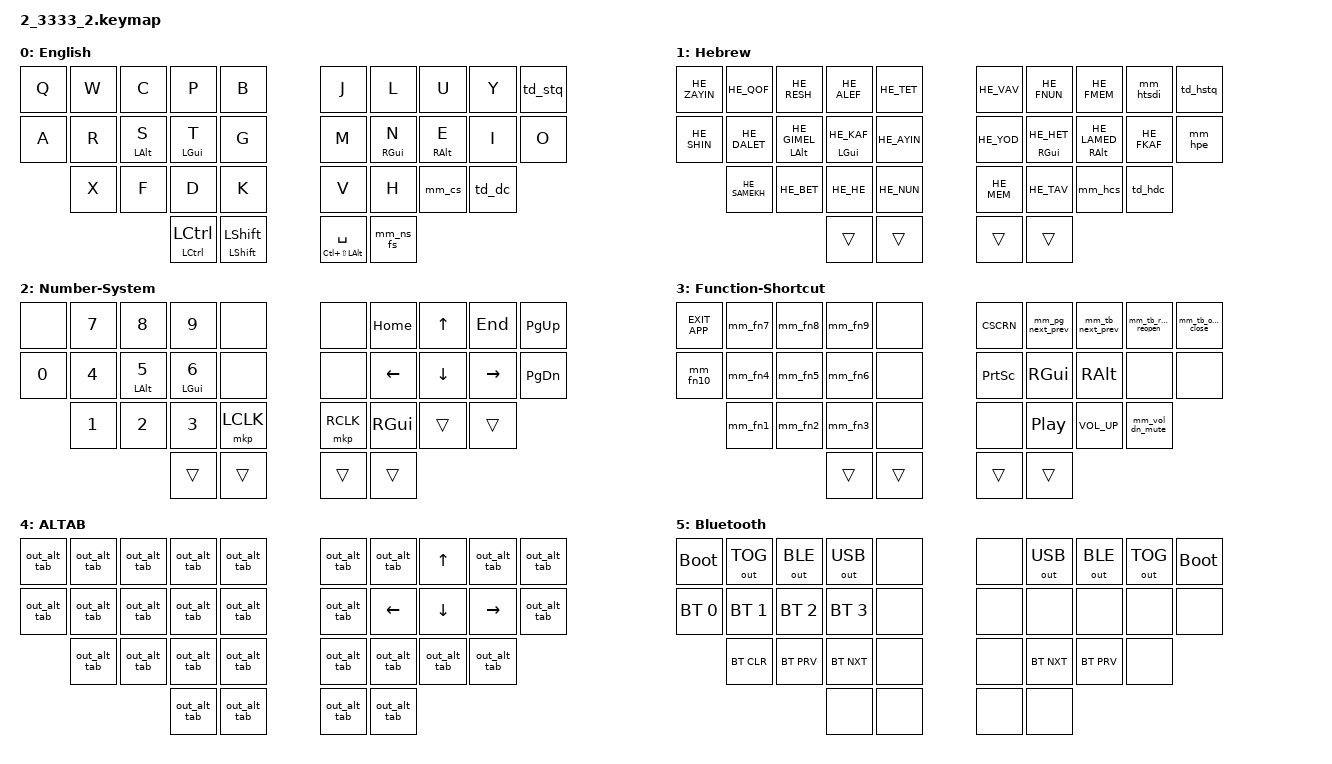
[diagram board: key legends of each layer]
/*
 * Copyright (c) 2020 The ZMK Contributors
 *
 * SPDX-License-Identifier: MIT
 */

#include <dt-bindings/zmk/mouse.h>

// Hebrew Keymap

#include "keys_hebrew.h"

// Extra Keys

#include "shortcut.h"
#include <behaviors.dtsi>
#include <dt-bindings/zmk/bt.h>
#include <dt-bindings/zmk/keys.h>
#include <dt-bindings/zmk/outputs.h>

#define MEH LC(LS(LALT))
#define HYP LC(LS(LA(LGUI)))

// Behavior Defaults

&mt {
    tapping_term_ms = <200>;
    flavor = "tap-preferred";
};

&sk {
    release-after-ms = <2000>;
    quick-release;
};

&caps_word { continue-list = <BACKSPACE DELETE UNDERSCORE MINUS BSPC DEL NUMBER_1 NUMBER_2 NUMBER_3 NUMBER_4 NUMBER_5 NUMBER_6 NUMBER_7 NUMBER_8 NUMBER_9 NUMBER_0 N1 N2 N3 N4 N5 N6 N7 N8 N9 N0 KP_N1 KP_N2 KP_N3 KP_N4 KP_N5 KP_N6 KP_N7 KP_N8 KP_N9 KP_N0>; };

// Behaviors Constants

#define long_tap 200
#define short_tap 150

// Combos Constants
// #define default_timeout 50
// Layers

#define ENG        0
#define HEB        1
#define NUM_SYS    2
#define FN_SHRT    3

// #define MSNV   4

#define ALTAB     4 // 5
#define BLTH      5 // 6

/* Source: https://github.com/caksoylar/zmk-config

#define COMBO(NAME, BINDINGS, KEYPOS, LAYERS, TERM, QUICKTAP) \
   combo_##NAME { \
     timeout-ms = <TERM>; \
     bindings = <BINDINGS>; \
     key-positions = <KEYPOS>; \
     layers = <LAYERS>; \
     global-quick-tap-ms = <QUICKTAP>; \
   };
*/
/*
* KEY POSITIONS - 32 Key Matrix
* ╭─────────────────────╮ ╭─────────────────────╮
* │ LT4 LT3 LT2 LT1 LT0 │ │ RT0 RT1 RT2 RT3 RT4 │
* │ LM4 LM3 LM2 LM1 LM0 │ │ RM0 RM1 RM2 RM3 RM4 │
* ╰───╮ LB3 LB2 LB1 LB0 │ │ RB0 RB1 RB2 RB3 ╭───╯
*     ╰───────╮ LH1 LH0 │ │ RH0 RH1 ╭───────╯
*             ╰─────────╯ ╰─────────╯ 
* 
* ╭────────────────╮ ╭────────────────╮
* │  0  1  2  3  4 │ │  5  6  7  8  9 │
* │ 10 11 12 13 14 │ │ 15 16 17 18 19 │
* ╰──╮ 20 21 22 23 │ │ 24 25 26 27 ╭──╯
*    ╰─────╮ 28 29 │ │ 30 31 ╭─────╯
*          ╰───────╯ ╰───────╯         
*/

/ {
    combos {
        compatible = "zmk,combos";

        // To Layer

        combo_english {
            bindings = <&to 0>;
            key-positions = <28 31>;
            timeout-ms = <50>;
            layers = <0 2 3 5>;
        };

        combo_to_english {
            bindings = <&out_hebrew>;
            key-positions = <28 31>;
            timeout-ms = <50>;
            layers = <1>;
        };

        combo_hebrew {
            bindings = <&to_hebrew>;
            key-positions = <14 15>;
            timeout-ms = <50>;
            layers = <1>;
        };

        // combo_number {
        //     bindings = <&to 2>;
        //     key-positions = <28 29>;
        //     timeout-ms = <50>;
        // };
        // combo_system_keyboard {
        //     bindings = <&to 3>;
        //     key-positions = <30 31>;
        //     timeout-ms = <50>;
        // };

        combo_bluetooth_left {
            bindings = <&to 5>;
            key-positions = <1 2 3>;
            timeout-ms = <50>;
            layers = <0 1 2 3>;
        };

        combo_bluetooth_right {
            bindings = <&to 5>;
            key-positions = <6 7 8>;
            timeout-ms = <50>;
        };

        // General

        combo_capsword {
            bindings = <&caps_word>;
            key-positions = <4 5>;
            timeout-ms = <50>;
            layers = <0 1>;
        };

        combo_tab {
            bindings = <&mm_alt_tab>;
            key-positions = <0 10>;
            timeout-ms = <50>;
            layers = <0 1 2 3>;
        };

        combo_escape {
            bindings = <&kp ESCAPE>;
            key-positions = <4 14>;
            timeout-ms = <50>;
            layers = <0 1 2 3>;
        };

        combo_bspc_del {
            bindings = <&mm_back_del>;
            key-positions = <5 15>;
            timeout-ms = <50>;
            layers = <0 1 2 3>;
        };

        combo_return {
            bindings = <&kp RETURN>;
            key-positions = <9 19>;
            timeout-ms = <50>;
            layers = <0 1 2 3>;
        };

        // Shortcuts
        //Right

        combo_copy {
            bindings = <&kp LC(C)>;
            key-positions = <0 1>;
            timeout-ms = <50>;
            layers = <0 1 2 3>;
        };

        combo_undo {
            bindings = <&kp LC(Z)>;
            key-positions = <0 11>;
            timeout-ms = <50>;
            layers = <0 1 2 3>;
        };

        // Left

        combo_paste {
            bindings = <&mm_paste>;
            key-positions = <8 9>;
            timeout-ms = <50>;
            layers = <0 1 2 3>;
        };

        combo_redo {
            bindings = <&kp LC(Y)>;
            key-positions = <9 18>;
            timeout-ms = <50>;
            layers = <0 1 2 3>;
        };

        // Top Row (left to right)

        combo_less_than_equal {
            bindings = <&mm_le>;
            key-positions = <1 2>;
            timeout-ms = <50>;
            layers = <0 1 2>;
        };

        combo_left_bracket_brace {
            bindings = <&kp LEFT_BRACKET>;
            key-positions = <2 3>;
            timeout-ms = <50>;
            layers = <0 1 2>;
        };

        combo_lparenthesis {
            bindings = <&kp LEFT_PARENTHESIS>;
            key-positions = <3 4>;
            timeout-ms = <50>;
            layers = <0 1 2>;
        };

        // Right

        combo_rparenthesis {
            bindings = <&kp RIGHT_PARENTHESIS>;
            key-positions = <5 6>;
            timeout-ms = <50>;
            layers = <0 1 2>;
        };

        combo_right_bracket_brace {
            bindings = <&kp RIGHT_BRACKET>;
            key-positions = <6 7>;
            timeout-ms = <50>;
            layers = <0 1 2>;
        };

        combo_greater_than_equal {
            bindings = <&mm_ge>;
            key-positions = <7 8>;
            timeout-ms = <50>;
            layers = <0 1 2>;
        };

        // Top-Home 
        // Left

        combo_at_sign {
            bindings = <&kp AT_SIGN>;
            key-positions = <1 11>;
            timeout-ms = <50>;
            layers = <0 1 2>;
        };

        combo_hash {
            bindings = <&kp HASH>;
            key-positions = <2 12>;
            timeout-ms = <50>;
            layers = <0 1 2>;
        };

        combo_dollar {
            bindings = <&kp DOLLAR>;
            key-positions = <3 13>;
            timeout-ms = <50>;
            layers = <0 2>;
        };

        combo_shekel {
            bindings = <&kp HE_NEW_SHEQEL>;
            key-positions = <3 13>;
            timeout-ms = <50>;
            layers = <1>;
        };

        // Right

        combo_hyphen {
            bindings = <&kp MINUS>;
            key-positions = <6 16>;
            timeout-ms = <50>;
            layers = <0 1 2>;
        };

        combo_asterisk {
            bindings = <&kp ASTERISK>;
            key-positions = <7 17>;
            timeout-ms = <50>;
            layers = <0 1 2>;
        };

        combo_fslash {
            bindings = <&kp SLASH>;
            key-positions = <8 18>;
            timeout-ms = <50>;
            layers = <0 1 2>;
        };

        // Middle Row (left to right)
        // Left

        combo_equal_unequal {
            bindings = <&mm_eq>;
            key-positions = <13 14>;
            timeout-ms = <50>;
            layers = <0 1 2>;
        };

        // Right

        combo_plus {
            bindings = <&kp PLUS>;
            key-positions = <15 16>;
            timeout-ms = <50>;
            layers = <0 1 2>;
        };

        // Home-Bottom
        // Left

        combo_percent {
            bindings = <&kp PERCENT>;
            key-positions = <11 20>;
            timeout-ms = <50>;
            layers = <0 1 2>;
        };

        combo_backtick {
            bindings = <&kp GRAVE>;
            key-positions = <12 21>;
            timeout-ms = <50>;
            layers = <0 1 2>;
        };

        combo_underscore {
            bindings = <&kp UNDERSCORE>;
            key-positions = <13 22>;
            timeout-ms = <50>;
            layers = <0 1 2>;
        };

        // Right

        combo_ampersand {
            bindings = <&kp AMPERSAND>;
            key-positions = <16 25>;
            timeout-ms = <50>;
            layers = <0 1 2>;
        };

        combo_pipe {
            bindings = <&kp PIPE>;
            key-positions = <17 26>;
            timeout-ms = <50>;
            layers = <0 1 2>;
        };

        combo_bslash {
            bindings = <&kp BACKSLASH>;
            key-positions = <18 27>;
            timeout-ms = <50>;
            layers = <0 1 2>;
        };

        // Bottom Row (left to right)
        // Left

        combo_z {
            bindings = <&kp Z>;
            key-positions = <10 20>;
            timeout-ms = <50>;
            layers = <0>;
        };

        combo_tilde {
            bindings = <&kp TILDE>;
            key-positions = <21 22>;
            timeout-ms = <50>;
            layers = <0 1 2>;
        };

        // Right

        combo_caret {
            bindings = <&kp CARET>;
            key-positions = <25 26>;
            timeout-ms = <50>;
            layers = <0 1 2>;
        };

        combo_question_excl {
            bindings = <&td_qe>;
            key-positions = <19 27>;
            layers = <0 2 3>;
        };

        combo_heb_question_excl {
            bindings = <&td_hqe>;
            key-positions = <19 27>;
            layers = <1>;
        };
    };

    behaviors {
        hmr: homerow_mods_right {
            compatible = "zmk,behavior-hold-tap";
            #binding-cells = <2>;
            tapping-term-ms = <200>;
            quick_tap_ms = <0>;
            flavor = "tap-preferred";
            bindings = <&kp>, <&kp>;

            hold-trigger-key-positions = <0 1 2 3 4 10 11 12 13 14 20 21 22 23>;
        };

        hml: homerow_mods_left {
            compatible = "zmk,behavior-hold-tap";
            #binding-cells = <2>;
            tapping-term-ms = <200>;
            quick_tap_ms = <0>;
            flavor = "tap-preferred";
            bindings = <&kp>, <&kp>;

            hold-trigger-key-positions = <5 6 7 8 9 15 16 17 18 19 24 25 26 27>;
        };

        sht: sticky_hold_tap {
            compatible = "zmk,behavior-hold-tap";
            #binding-cells = <2>;
            tapping-term-ms = <200>;
            quick_tap_ms = <0>;
            flavor = "tap-preferred";
            bindings = <&sk>, <&kp>;
        };

        khst: key_hold_sticky_tap {
            compatible = "zmk,behavior-hold-tap";
            #binding-cells = <2>;
            tapping-term-ms = <200>;
            quick_tap_ms = <0>;
            flavor = "tap-preferred";
            bindings = <&kp>, <&sk>;
        };

        scw: sticky_shift_capsword {
            compatible = "zmk,behavior-hold-tap";
            #binding-cells = <2>;
            tapping-term-ms = <200>;
            quick_tap_ms = <0>;
            flavor = "tap-preferred";
            bindings = <&caps_word>, <&sk>;
        };

        // LAYER
        // To ENGLISH; Shifted: To Hebrew

        mm_eng_heb: morph_to_english_hebrew {
            compatible = "zmk,behavior-mod-morph";
            #binding-cells = <0>;
            mods = <(MOD_LSFT|MOD_RSFT)>;
            bindings = <&to 0>, <&to 1>;
        };

        // To KEYBOARD; Shifted: To MOUSE

        mm_sys_ms: morph_to_system_mouse {
            compatible = "zmk,behavior-mod-morph";
            #binding-cells = <0>;
            mods = <(MOD_LSFT|MOD_RSFT)>;
            bindings = <&to 3>, <&to 5>;
        };

        // To SYMBOL; Shifted: To KEYBOARD

        mm_ns_fs: morph_to_num_sys_fn_short {
            compatible = "zmk,behavior-mod-morph";
            #binding-cells = <0>;
            mods = <(MOD_LSFT|MOD_RSFT)>;
            bindings = <&to 2>, <&to 3>;
        };

        // To SYMBOL; Shifted: To MOUSE

        mm_num_ms: morph_to_number_mouse {
            compatible = "zmk,behavior-mod-morph";
            #binding-cells = <0>;
            mods = <(MOD_LSFT|MOD_RSFT)>;
            bindings = <&to 2>, <&to 5>;
        };

        // MOD MORPHS
        // GENERAL

        mm_back_del: morph_backspace_delete {
            compatible = "zmk,behavior-mod-morph";
            #binding-cells = <0>;
            mods = <(MOD_LSFT|MOD_RSFT)>;
            bindings = <&kp BACKSPACE>, <&kp DELETE>;
        };

        mm_alt_tab: morph_alt_tab {
            compatible = "zmk,behavior-mod-morph";
            #binding-cells = <0>;
            mods = <(MOD_LALT|MOD_RALT)>;
            bindings = <&kp TAB>, <&to_alt_tab>;
        };

        mm_paste: morph_paste_value {
            compatible = "zmk,behavior-mod-morph";
            #binding-cells = <0>;
            mods = <(MOD_RSFT|MOD_LSFT)>;
            bindings = <&kp LC(V)>, <&kp LC(LS(V))>;
        };

        mm_vol_dn_mute: morph_volume_down_mute {
            compatible = "zmk,behavior-mod-morph";
            #binding-cells = <0>;
            mods = <(MOD_LSFT|MOD_RCTL)>;
            bindings = <&kp C_VOL_DN>, <&kp C_MUTE>;
        };

        // INTERNET SHORTCUTS

        mm_tb_next_prev: morph_internet_tab_next_prev {
            compatible = "zmk,behavior-mod-morph";
            #binding-cells = <0>;
            mods = <(MOD_LSFT|MOD_RSFT)>;
            bindings = <&kp RC(TAB)>, <&kp RC(RS(TAB))>;
        };

        mm_tb_open_close: morph_internet_tab_open_close {
            compatible = "zmk,behavior-mod-morph";
            #binding-cells = <0>;
            mods = <(MOD_LSFT|MOD_RCTL)>;
            bindings = <&kp RC(T)>, <&kp LC(W)>;
        };

        mm_tb_refresh_reopen: morph_internet_tab_refresh_reop {
            compatible = "zmk,behavior-mod-morph";
            #binding-cells = <0>;
            mods = <(MOD_LSFT|MOD_RCTL)>;
            bindings = <&kp RC(R)>, <&kp LS(LC(T))>;
        };

        mm_pg_next_prev: morph_internet_page_next_prev {
            compatible = "zmk,behavior-mod-morph";
            #binding-cells = <0>;
            mods = <(MOD_LSFT|MOD_RSFT)>;
            bindings = <&kp LA(RIGHT_ARROW)>, <&kp LA(LEFT_ARROW)>;
        };

        // PUNCTUATION: English
        // Mod-Morph: Period "."; Colon ":"

        mm_dc: morph_period_colon {
            compatible = "zmk,behavior-mod-morph";
            #binding-cells = <0>;
            mods = <(MOD_LSFT|MOD_RSFT)>;
            bindings = <&kp PERIOD>, <&kp COLON>;
        };

        // Tap-Dance: 1) Mod-Morph Period-Colon; 2) Ellipsis "..."

        td_dc: tap_period_colon {
            compatible = "zmk,behavior-tap-dance";
            #binding-cells = <0>;
            tapping-term-ms = <150>;
            bindings = <&mm_dc>, <&ellipsis>;
        };

        // Mod-Morph: Comma ","; Semicolon ";"

        mm_cs: morph_comma_semicolon {
            compatible = "zmk,behavior-mod-morph";
            #binding-cells = <0>;
            mods = <(MOD_LSFT|MOD_RSFT)>;
            bindings = <&kp COMMA>, <&kp SEMICOLON>;
        };

        // Tap-Dance: 1) Comma ","; 2) Semicolon ";"

        td_cs: tap_comma_semicolon {
            compatible = "zmk,behavior-tap-dance";
            #binding-cells = <0>;
            tapping-term-ms = <150>;
            bindings = <&kp COMMA>, <&kp SEMICOLON>;
        };

        // 1: Single quote "'"; 2: Double quote """; 3: Triple-double quote """""

        td_stq: tap_single_double_triple_quote {
            compatible = "zmk,behavior-tap-dance";
            #binding-cells = <0>;
            tapping-term-ms = <150>;
            bindings = <&kp SINGLE_QUOTE>, <&kp DOUBLE_QUOTES>, <&tri_dquote>;
        };

        // Mod-Morph: Question "?"; Exclamation "!"

        mm_qe: morph_question_exclamation {
            compatible = "zmk,behavior-mod-morph";
            #binding-cells = <0>;
            mods = <(MOD_LSFT|MOD_RSFT)>;
            bindings = <&kp QUESTION>, <&kp EXCLAMATION>;
        };

        // Tap-Dance: 1) Mod-Morph Question-Exclamation; 2) Triple Question "???"

        td_qe: tap_question_exclamation {
            compatible = "zmk,behavior-tap-dance";
            #binding-cells = <0>;
            tapping-term-ms = <150>;
            bindings = <&mm_qe>, <&tri_ques>;
        };

        // PUNCTUATION: Hebrew
        // Mod-Morph: Period "."; Colon ":"

        mm_hdc: morph_heb_period_colon {
            compatible = "zmk,behavior-mod-morph";
            #binding-cells = <0>;
            mods = <(MOD_LSFT|MOD_RSFT)>;
            bindings = <&kp HE_PERIOD>, <&kp HE_COLON>;
        };

        // 1) Mod-Morph Period-Colon; 2) Ellipsis "..."

        td_hdc: tap_heb_period_colon {
            compatible = "zmk,behavior-tap-dance";
            #binding-cells = <0>;
            tapping-term-ms = <150>;
            bindings = <&mm_hdc>, <&heb_ellipsis>;
        };

        // Mod-Morph: Comma ","; Semicolon ";"

        mm_hcs: morph_heb_comma_semicolon {
            compatible = "zmk,behavior-mod-morph";
            #binding-cells = <0>;
            mods = <(MOD_LSFT|MOD_RSFT)>;
            bindings = <&kp HE_COMMA>, <&kp HE_SEMICOLON>;
        };

        // Tap-Dance: 1) Comma ","; 2) Semicolon ";"

        td_hcs: tap_heb_comma_semicolon {
            compatible = "zmk,behavior-tap-dance";
            #binding-cells = <0>;
            tapping-term-ms = <150>;
            bindings = <&kp HE_COMMA>, <&kp HE_SEMICOLON>;
        };

        // Mod-Morph: Single Quote "'"; Double Quote """

        mm_hsdq: morph_heb_single_double_quote {
            compatible = "zmk,behavior-mod-morph";
            #binding-cells = <0>;
            mods = <(MOD_LSFT|MOD_RSFT)>;
            bindings = <&kp HE_SINGLE_QUOTE>, <&kp HE_DOUBLE_QUOTES>;
        };

        // Tap-Dance: 1) Mod-Morph Single-Double Quote; 2) Triple-Double Quote """""

        td_hstq: tap_heb_single_double_triple_quote {
            compatible = "zmk,behavior-tap-dance";
            #binding-cells = <0>;
            tapping-term-ms = <150>;
            bindings = <&mm_hsdq>, <&heb_tri_dquote>;
        };

        // Mod-Morph: Question "?"; Exclamation "!"

        mm_hqe: morph_heb_question_exclamation {
            compatible = "zmk,behavior-mod-morph";
            #binding-cells = <0>;
            mods = <(MOD_LSFT|MOD_RSFT)>;
            bindings = <&kp HE_QUESTION>, <&kp HE_EXCLAMATION>;
        };

        // Tap-Dance: 1) Mod-Morph Question-Exclamation; 2) Triple Question Mark "???"

        td_hqe: tap_heb_question_exclamation {
            compatible = "zmk,behavior-tap-dance";
            #binding-cells = <0>;
            tapping-term-ms = <150>;
            bindings = <&mm_hqe>, <&heb_tri_ques>;
        };

        // Mod-Morph: Nun פ; Final Nun ף

        mm_hnun: morph_heb_nun {
            compatible = "zmk,behavior-mod-morph";
            #binding-cells = <0>;
            mods = <(MOD_LSFT|MOD_RSFT)>;
            bindings = <&kp HE_NUN>, <&kp HE_FNUN>;
        };

        // Mod-Morph: Peh פ; Final Peh ף

        mm_hpe: morph_heb_pe {
            compatible = "zmk,behavior-mod-morph";
            #binding-cells = <0>;
            mods = <(MOD_LSFT|MOD_RSFT)>;
            bindings = <&kp HE_PE>, <&kp HE_FPE>;
        };

        // Mod-Morph: Tsadi צ; Final Tsadi ץ

        mm_htsdi: morph_heb_tsadi {
            compatible = "zmk,behavior-mod-morph";
            #binding-cells = <0>;
            mods = <(MOD_LSFT|MOD_RSFT)>;
            bindings = <&kp HE_TSADI>, <&kp HE_FTSADI>;
        };

        // MATH OPERATORS

        mm_eq: morph_un_equal {
            compatible = "zmk,behavior-mod-morph";
            #binding-cells = <0>;
            mods = <(MOD_LSFT|MOD_RSFT)>;
            bindings = <&kp EQUAL>, <&unequal>;
        };

        mm_ge: morph_greater_equal {
            compatible = "zmk,behavior-mod-morph";
            #binding-cells = <0>;
            mods = <(MOD_LSFT|MOD_RSFT)>;
            bindings = <&kp GREATER_THAN>, <&gr_equal>;
        };

        mm_le: morph_less_than_equal {
            compatible = "zmk,behavior-mod-morph";
            #binding-cells = <0>;
            mods = <(MOD_LSFT|MOD_RSFT)>;
            bindings = <&kp LESS_THAN>, <&ls_equal>;
        };

        // FUNCTION PLUS TEN

        mm_fn1: morph_func_1_11 {
            compatible = "zmk,behavior-mod-morph";
            #binding-cells = <0>;
            mods = <(MOD_LSFT|MOD_RSFT)>;
            bindings = <&kp F1>, <&kp F11>;
        };

        mm_fn2: morph_func_2_12 {
            compatible = "zmk,behavior-mod-morph";
            #binding-cells = <0>;
            mods = <(MOD_LSFT|MOD_RSFT)>;
            bindings = <&kp F2>, <&kp F12>;
        };

        mm_fn3: morph_func_3_13 {
            compatible = "zmk,behavior-mod-morph";
            #binding-cells = <0>;
            mods = <(MOD_LSFT|MOD_RSFT)>;
            bindings = <&kp F3>, <&kp F13>;
        };

        mm_fn4: morph_func_4_14 {
            compatible = "zmk,behavior-mod-morph";
            #binding-cells = <0>;
            mods = <(MOD_LSFT|MOD_RSFT)>;
            bindings = <&kp F4>, <&kp F14>;
        };

        mm_fn5: morph_func_5_15 {
            compatible = "zmk,behavior-mod-morph";
            #binding-cells = <0>;
            mods = <(MOD_LSFT|MOD_RSFT)>;
            bindings = <&kp F5>, <&kp F15>;
        };

        mm_fn6: morph_func_6_16 {
            compatible = "zmk,behavior-mod-morph";
            #binding-cells = <0>;
            mods = <(MOD_LSFT|MOD_RSFT)>;
            bindings = <&kp F6>, <&kp F16>;
        };

        mm_fn7: morph_func_7_17 {
            compatible = "zmk,behavior-mod-morph";
            #binding-cells = <0>;
            mods = <(MOD_LSFT|MOD_RSFT)>;
            bindings = <&kp F7>, <&kp F17>;
        };

        mm_fn8: morph_func_8_18 {
            compatible = "zmk,behavior-mod-morph";
            #binding-cells = <0>;
            mods = <(MOD_LSFT|MOD_RSFT)>;
            bindings = <&kp F8>, <&kp F18>;
        };

        mm_fn9: morph_func_9_19 {
            compatible = "zmk,behavior-mod-morph";
            #binding-cells = <0>;
            mods = <(MOD_LSFT|MOD_RSFT)>;
            bindings = <&kp F9>, <&kp F19>;
        };

        mm_fn10: morph_func_10_20 {
            compatible = "zmk,behavior-mod-morph";
            #binding-cells = <0>;
            mods = <(MOD_LSFT|MOD_RSFT)>;
            bindings = <&kp F10>, <&kp F20>;
        };
    };

    macros {
        to_hebrew: to_hebrew {
            compatible = "zmk,behavior-macro";
            #binding-cells = <0>;
            bindings = <&kp LG(SPACE) &to 1>;
        };

        out_hebrew: out_hebrew {
            compatible = "zmk,behavior-macro";
            #binding-cells = <0>;
            bindings = <&kp LG(SPACE) &to 0>;
        };

        to_alt_tab: to_alt_tab {
            compatible = "zmk,behavior-macro";
            #binding-cells = <0>;
            bindings =
                <&macro_press>,
                <&mo 4>,
                <&macro_pause_for_release>,
                <&macro_release>,
                <&kp LEFT_ALT>,
                <&macro_tap>,
                <&to 0>;
        };

        out_alt_tab: alt_tab_x {
            compatible = "zmk,behavior-macro";
            #binding-cells = <0>;
            bindings = <&macro_release>, <&kp LEFT_ALT &mo 4>;
        };

        ellipsis: ellipsis {
            compatible = "zmk,behavior-macro";
            #binding-cells = <0>;
            bindings = <&kp DOT &kp DOT &kp DOT>;
        };

        heb_ellipsis: heb_ellipsis {
            compatible = "zmk,behavior-macro";
            #binding-cells = <0>;
            bindings = <&kp HE_DOT &kp HE_DOT &kp HE_DOT>;
        };

        tri_dquote: triple_double_quote {
            compatible = "zmk,behavior-macro";
            #binding-cells = <0>;
            bindings = <&kp DQT &kp DQT &kp DQT>;
        };

        heb_tri_dquote: heb_triple_double_quote {
            compatible = "zmk,behavior-macro";
            #binding-cells = <0>;
            bindings = <&kp HE_DQT &kp HE_DQT &kp HE_DQT>;
        };

        tri_ques: triple_question {
            compatible = "zmk,behavior-macro";
            #binding-cells = <0>;
            bindings = <&kp QUESTION &kp QUESTION &kp QUESTION>;
        };

        heb_tri_ques: heb_triple_question {
            compatible = "zmk,behavior-macro";
            #binding-cells = <0>;
            bindings = <&kp HE_QUESTION &kp HE_QUESTION &kp HE_QUESTION>;
        };

        gr_equal: greater_than_equal {
            compatible = "zmk,behavior-macro";
            #binding-cells = <0>;
            bindings = <&kp GREATER_THAN &kp EQUAL>;
        };

        ls_equal: less_than_equal {
            compatible = "zmk,behavior-macro";
            #binding-cells = <0>;
            bindings = <&kp LESS_THAN &kp EQUAL>;
        };

        unequal: exclamation_equal {
            compatible = "zmk,behavior-macro";
            #binding-cells = <0>;
            bindings = <&kp EXCLAMATION &kp EQUAL>;
        };
    };

    keymap {
        compatible = "zmk,keymap";

        ENG {
            display-name = "English";
            bindings = <
&kp Q  &kp W  &kp C        &kp P              &kp B                    &kp J           &kp L        &kp U        &kp Y   &td_stq
&kp A  &kp R  &hml LALT S  &hml LGUI T        &kp G                    &kp M           &hmr RGUI N  &hmr RALT E  &kp I   &kp O
       &kp X  &kp F        &kp D              &kp K                    &kp V           &kp H        &mm_cs       &td_dc
                           &khst LCTRL LCTRL  &khst LSHFT LSHFT        &sht MEH SPACE  &mm_ns_fs
            >;
        };

        HEB {
            display-name = "Hebrew";
            bindings = <
&kp HE_ZAYIN  &kp HE_QOF     &kp HE_RESH         &kp HE_ALEF       &kp HE_TET         &kp HE_VAV  &kp HE_FNUN       &kp HE_FMEM         &mm_htsdi    &td_hstq
&kp HE_SHIN   &kp HE_DALET   &hml LALT HE_GIMEL  &hml LGUI HE_KAF  &kp HE_AYIN        &kp HE_YOD  &hmr RGUI HE_HET  &hmr RALT HE_LAMED  &kp HE_FKAF  &mm_hpe
              &kp HE_SAMEKH  &kp HE_BET          &kp HE_HE         &kp HE_NUN         &kp HE_MEM  &kp HE_TAV        &mm_hcs             &td_hdc
                                                 &trans            &trans             &trans      &trans
            >;
        };

        NUM_SYS {
            display-name = "Number-System";
            bindings = <
&none   &kp N7  &kp N8        &kp N9        &none            &none      &kp HOME  &kp UP    &kp END    &kp PG_UP
&kp N0  &kp N4  &hml LALT N5  &hml LGUI N6  &none            &none      &kp LEFT  &kp DOWN  &kp RIGHT  &kp PG_DN
        &kp N1  &kp N2        &kp N3        &mkp LCLK        &mkp RCLK  &kp RGUI  &trans    &trans
                              &trans        &trans           &trans     &trans
            >;
        };

        FN_SHRT {
            display-name = "Function-Shortcut";
            bindings = <
&kp EXIT_APP  &mm_fn7  &mm_fn8  &mm_fn9  &none         &kp CSCRN  &mm_pg_next_prev  &mm_tb_next_prev  &mm_tb_refresh_reopen  &mm_tb_open_close
&mm_fn10      &mm_fn4  &mm_fn5  &mm_fn6  &none         &kp PSCRN  &kp RGUI          &kp RALT          &none                  &none
              &mm_fn1  &mm_fn2  &mm_fn3  &none         &none      &kp C_PP          &kp C_VOL_UP      &mm_vol_dn_mute
                                &trans   &trans        &trans     &trans
            >;
        };

        ALTAB {
            bindings = <
&out_alt_tab  &out_alt_tab  &out_alt_tab  &out_alt_tab  &out_alt_tab        &out_alt_tab  &out_alt_tab    &kp UP        &out_alt_tab  &out_alt_tab
&out_alt_tab  &out_alt_tab  &out_alt_tab  &out_alt_tab  &out_alt_tab        &out_alt_tab  &kp LEFT_ARROW  &kp DOWN      &kp RIGHT     &out_alt_tab
              &out_alt_tab  &out_alt_tab  &out_alt_tab  &out_alt_tab        &out_alt_tab  &out_alt_tab    &out_alt_tab  &out_alt_tab
                                          &out_alt_tab  &out_alt_tab        &out_alt_tab  &out_alt_tab
            >;
        };

        BLTH {
            display-name = "Bluetooth";
            bindings = <
&bootloader   &out OUT_TOG  &out OUT_BLE  &out OUT_USB  &none        &none  &out OUT_USB  &out OUT_BLE  &out OUT_TOG  &bootloader
&bt BT_SEL 0  &bt BT_SEL 1  &bt BT_SEL 2  &bt BT_SEL 3  &none        &none  &none         &none         &none         &none
              &bt BT_CLR    &bt BT_PRV    &bt BT_NXT    &none        &none  &bt BT_NXT    &bt BT_PRV    &none
                                          &none         &none        &none  &none
            >;
        };
    };
};
